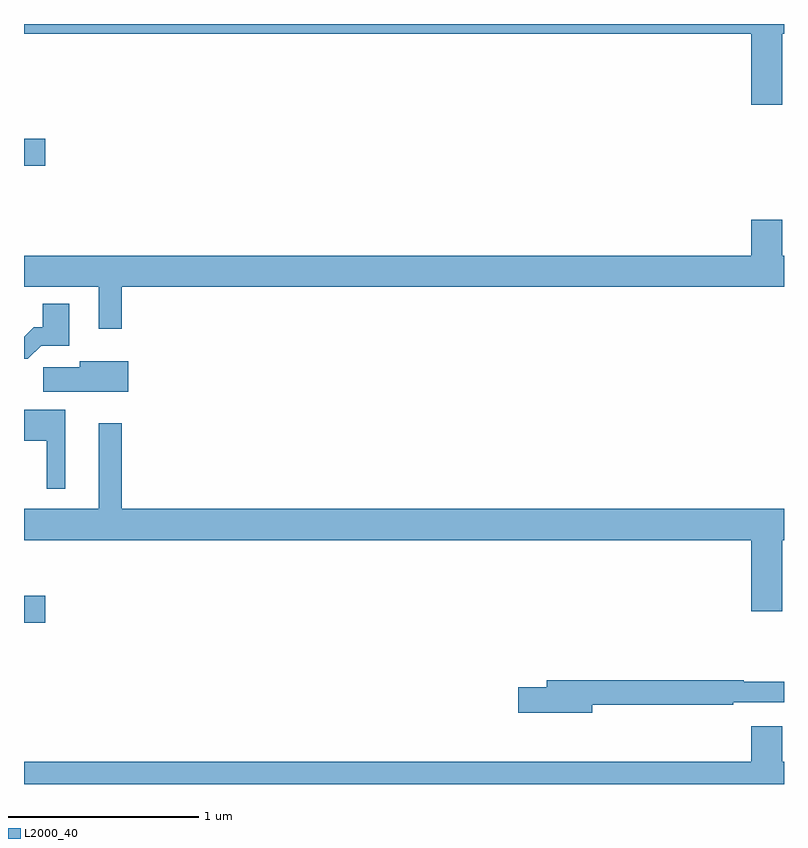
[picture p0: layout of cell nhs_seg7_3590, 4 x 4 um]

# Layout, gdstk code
import gdstk
lib = gdstk.Library(unit=1e-6, precision=1e-09)
def R(c, l, rs):  # rectangles x0, y0, x1, y1
    for r in rs: c.add(gdstk.rectangle(r[:2], r[2:], *l))
def P(c, l, *ps):  # polygons
    for p in ps: c.add(gdstk.Polygon(p, *l))
L2000_40 = (2000, 40)

nhs_seg7_3590 = lib.new_cell('nhs_seg7_3590')
R(nhs_seg7_3590, L2000_40, [(341,998.849,341.113,998.991), (341,1001.254,341.113,1001.396)])
P(nhs_seg7_3590, L2000_40, [(344.992,1001.948),(345,1001.948),(345,1002),(341,1002),(341,1001.948),(344.828,1001.948),(344.828,1001.574),(344.992,1001.574)],
  [(341,1000.616),(341.393,1000.616),(341.393,1000.395),(341.515,1000.395),(341.515,1000.616),(345,1000.616),(345,1000.78),(344.992,1000.78),(344.992,1000.969),(344.828,1000.969),(344.828,1000.78),(341,1000.78)],
  [(341.09,1000.307),(341.239,1000.307),(341.239,1000.528),(341.099,1000.528),(341.099,1000.405),(341.05,1000.405),(341,1000.355),(341,1000.238),(341.021,1000.238)],
  [(341.548,1000.225),(341.294,1000.225),(341.294,1000.193),(341.1,1000.193),(341.1,1000.064),(341.548,1000.064)],
  [(341.218,999.97),(341,999.97),(341,999.806),(341.12,999.806),(341.12,999.555),(341.218,999.555)],
  [(344.992,999.284),(345,999.284),(345,999.448),(341.515,999.448),(341.515,999.898),(341.393,999.898),(341.393,999.448),(341,999.448),(341,999.284),(344.828,999.284),(344.828,998.91),(344.992,998.91)],
  [(343.99,998.418),(344.732,998.418),(344.732,998.43),(345,998.43),(345,998.539),(344.788,998.539),(344.788,998.546),(343.751,998.546),(343.751,998.51),(343.602,998.51),(343.602,998.375),(343.99,998.375)],
  [(345,998.116),(344.992,998.116),(344.992,998.305),(344.828,998.305),(344.828,998.116),(341,998.116),(341,998),(345,998)])

lib.write_gds('nhs_seg7_3590.gds')
